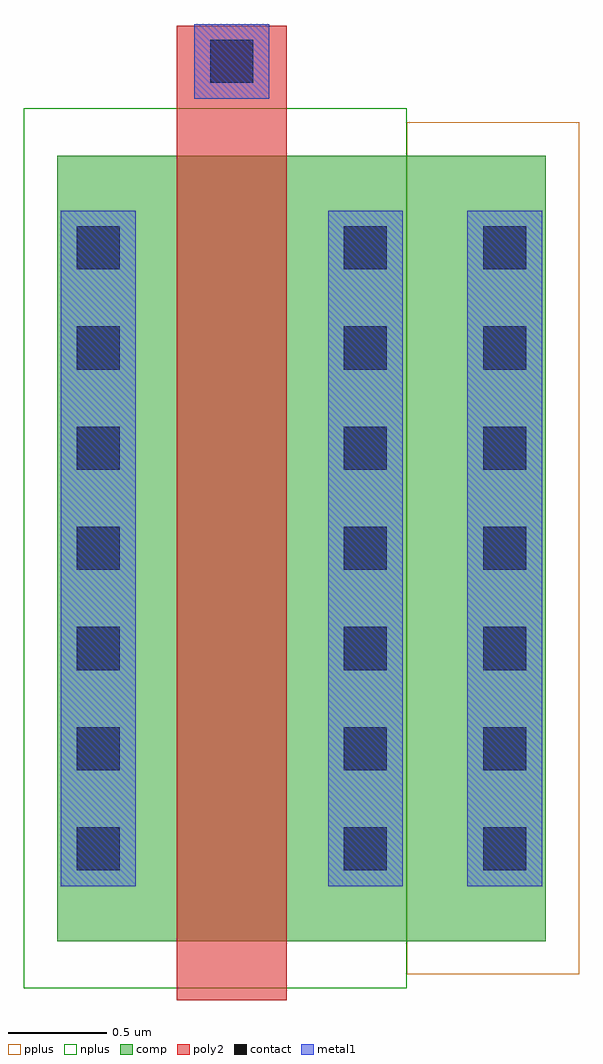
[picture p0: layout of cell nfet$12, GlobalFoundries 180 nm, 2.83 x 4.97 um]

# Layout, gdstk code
import gdstk
lib = gdstk.Library(unit=1e-6, precision=1e-09)
def R(c, l, rs):  # rectangles x0, y0, x1, y1
    for r in rs: c.add(gdstk.rectangle(r[:2], r[2:], *l))
def A(c, l, x, y, w, h, nx, ny, dx, dy):  # array of equal rectangles
    R(c, l, [(x+i*dx, y+j*dy, x+i*dx+w, y+j*dy+h) for i in range(nx) for j in range(ny)])
comp = (22, 0)
poly2 = (30, 0)
pplus = (31, 0)
nplus = (32, 0)
contact = (33, 0)
metal1 = (34, 0)

nfet_12 = lib.new_cell('nfet$12')
R(nfet_12, comp, [(-0.42,0,0,4), (0,0,0.94,4), (0.94,0,1.36,4), (1.36,0,2.07,4)])
R(nfet_12, poly2, [(0.19,-0.3,0.75,4.3), (0.19,4.3,0.75,4.66)])
R(nfet_12, pplus, [(1.36,-0.17,2.24,4.17)])
R(nfet_12, nplus, [(-0.59,-0.24,1.36,4.24)])
A(nfet_12, contact, -0.32, 0.36, 0.22, 0.22, 1, 7, 0, 0.51)
A(nfet_12, contact, 1.04, 0.36, 0.22, 0.22, 1, 7, 0, 0.51)
A(nfet_12, contact, 1.75, 0.36, 0.22, 0.22, 1, 7, 0, 0.51)
R(nfet_12, contact, [(0.36,4.37,0.58,4.59)])
R(nfet_12, metal1, [(-0.4,0.28,-0.02,3.72), (0.96,0.28,1.34,3.72), (1.67,0.28,2.05,3.72), (0.28,4.29,0.66,4.67)])

lib.write_gds('nfet_12.gds')
